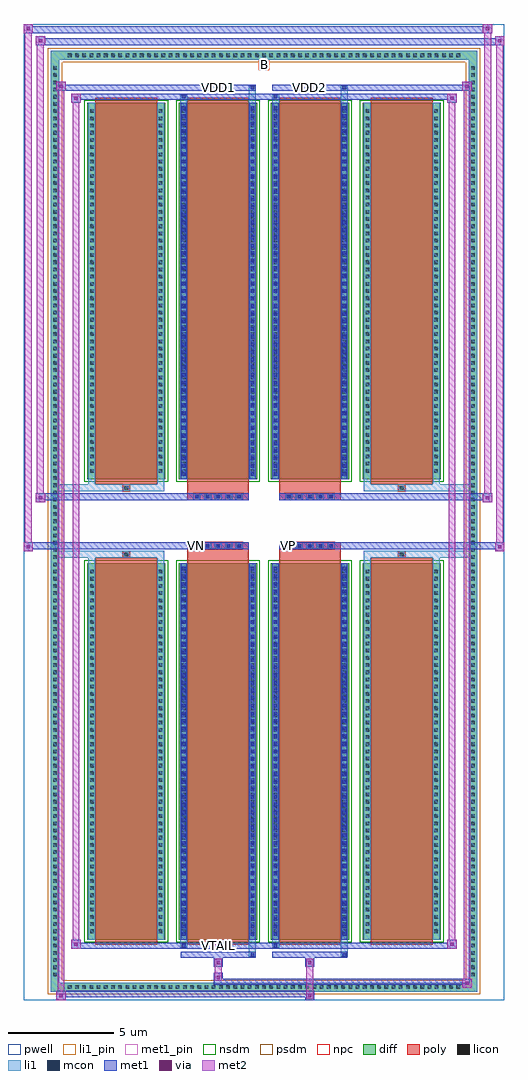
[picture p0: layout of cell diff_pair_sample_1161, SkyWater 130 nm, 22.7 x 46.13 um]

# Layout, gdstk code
import gdstk
lib = gdstk.Library(unit=1e-6, precision=5e-09)
def R(c, l, rs):  # rectangles x0, y0, x1, y1
    for r in rs: c.add(gdstk.rectangle(r[:2], r[2:], *l))
def A(c, l, x, y, w, h, nx, ny, dx, dy):  # array of equal rectangles
    R(c, l, [(x+i*dx, y+j*dy, x+i*dx+w, y+j*dy+h) for i in range(nx) for j in range(ny)])
def P(c, l, *ps):  # polygons
    for p in ps: c.add(gdstk.Polygon(p, *l))
pwell = (64, 44)
diff = (65, 20)
poly = (66, 20)
licon = (66, 44)
li1_pin = (67, 16)
li1 = (67, 20)
mcon = (67, 44)
met1_pin = (68, 16)
met1 = (68, 20)
via = (68, 44)
met2 = (69, 20)
nsdm = (93, 44)
psdm = (94, 20)
npc = (95, 20)

diff_pair_sample_1161 = lib.new_cell('diff_pair_sample_1161')
R(diff_pair_sample_1161, pwell, [(-11.35,-22.63,11.35,23.5), (-8.67,-20.82,-0.01,-0.8), (0.01,-20.82,8.67,-0.8), (-8.67,0.8,-0.01,20.82), (0.01,0.8,8.67,20.82)])
A(diff_pair_sample_1161, diff, -9.385, -22.23, 0.41, 0.41, 55, 2, 0.34, 44.05)
A(diff_pair_sample_1161, diff, -10.08, -21.625, 0.41, 0.41, 1, 127, 0, 0.34)
A(diff_pair_sample_1161, diff, 9.67, -21.625, 0.41, 0.41, 1, 127, 0, 0.34)
A(diff_pair_sample_1161, diff, -8.36, -19.775, 3.7, 17.79, 4, 2, 4.34, 21.76)
R(diff_pair_sample_1161, diff, [(-9.385,-22.23,9.385,-21.82), (-10.08,-21.625,-9.67,21.625), (9.67,-21.625,10.08,21.625), (-9.385,21.82,9.385,22.23)])
P(diff_pair_sample_1161, diff, [(10.08,22.23),(-10.08,22.23),(-10.08,-21.82),(-9.67,-21.82),(-9.67,21.82),(9.67,21.82),(9.67,-21.82),(-9.67,-21.82),(-10.08,-21.82),(-10.08,-22.23),(10.08,-22.23)])
A(diff_pair_sample_1161, poly, -7.97, -20.025, 2.92, 18.29, 4, 2, 4.34, 21.76)
A(diff_pair_sample_1161, poly, -3.335, -1.33, 0.33, 0.33, 5, 2, 0.5, 2.33)
A(diff_pair_sample_1161, poly, 1.005, -1.33, 0.33, 0.33, 5, 2, 0.5, 2.33)
R(diff_pair_sample_1161, poly, [(-6.675,-1.735,-6.345,-1.405), (-6.675,-1.735,-6.345,-1.405), (-3.63,-1.735,-0.71,-1.33), (0.71,-1.735,3.63,-1.33), (6.345,-1.735,6.675,-1.405), (6.345,-1.735,6.675,-1.405), (-3.63,-1.33,-0.71,-1), (0.71,-1.33,3.63,-1), (-3.63,1,-0.71,1.33), (0.71,1,3.63,1.33), (-3.63,1.33,-0.71,1.735), (0.71,1.33,3.63,1.735), (-6.675,1.405,-6.345,1.735), (-6.675,1.405,-6.345,1.735), (6.345,1.405,6.675,1.735), (6.345,1.405,6.675,1.735)])
A(diff_pair_sample_1161, licon, -9.265, -22.11, 0.17, 0.17, 55, 2, 0.34, 44.05)
A(diff_pair_sample_1161, licon, -9.96, -21.505, 0.17, 0.17, 1, 127, 0, 0.34)
A(diff_pair_sample_1161, licon, 9.79, -21.505, 0.17, 0.17, 1, 127, 0, 0.34)
A(diff_pair_sample_1161, licon, -8.22, -19.465, 0.17, 0.17, 1, 51, 0, 0.34)
A(diff_pair_sample_1161, licon, -4.97, -19.465, 0.17, 0.17, 1, 51, 0, 0.34)
A(diff_pair_sample_1161, licon, -3.88, -19.465, 0.17, 0.17, 1, 51, 0, 0.34)
A(diff_pair_sample_1161, licon, -0.63, -19.465, 0.17, 0.17, 1, 51, 0, 0.34)
A(diff_pair_sample_1161, licon, 0.46, -19.465, 0.17, 0.17, 1, 51, 0, 0.34)
A(diff_pair_sample_1161, licon, 3.71, -19.465, 0.17, 0.17, 1, 51, 0, 0.34)
A(diff_pair_sample_1161, licon, 4.8, -19.465, 0.17, 0.17, 1, 51, 0, 0.34)
A(diff_pair_sample_1161, licon, 8.05, -19.465, 0.17, 0.17, 1, 51, 0, 0.34)
A(diff_pair_sample_1161, licon, -3.255, -1.25, 0.17, 0.17, 5, 2, 0.5, 2.33)
A(diff_pair_sample_1161, licon, 1.085, -1.25, 0.17, 0.17, 5, 2, 0.5, 2.33)
A(diff_pair_sample_1161, licon, -8.22, 2.295, 0.17, 0.17, 1, 51, 0, 0.34)
A(diff_pair_sample_1161, licon, -4.97, 2.295, 0.17, 0.17, 1, 51, 0, 0.34)
A(diff_pair_sample_1161, licon, -3.88, 2.295, 0.17, 0.17, 1, 51, 0, 0.34)
A(diff_pair_sample_1161, licon, -0.63, 2.295, 0.17, 0.17, 1, 51, 0, 0.34)
A(diff_pair_sample_1161, licon, 0.46, 2.295, 0.17, 0.17, 1, 51, 0, 0.34)
A(diff_pair_sample_1161, licon, 3.71, 2.295, 0.17, 0.17, 1, 51, 0, 0.34)
A(diff_pair_sample_1161, licon, 4.8, 2.295, 0.17, 0.17, 1, 51, 0, 0.34)
A(diff_pair_sample_1161, licon, 8.05, 2.295, 0.17, 0.17, 1, 51, 0, 0.34)
R(diff_pair_sample_1161, licon, [(-6.595,-1.655,-6.425,-1.485), (6.425,-1.655,6.595,-1.485), (-6.595,1.485,-6.425,1.655), (6.425,1.485,6.595,1.655)])
R(diff_pair_sample_1161, li1_pin, [(-0.25,21.32,0.25,21.82)])
A(diff_pair_sample_1161, li1, -9.345, -22.19, 0.33, 0.33, 55, 2, 0.34, 44.05)
A(diff_pair_sample_1161, li1, -10.04, -21.585, 0.33, 0.33, 1, 127, 0, 0.34)
A(diff_pair_sample_1161, li1, 9.71, -21.585, 0.33, 0.33, 1, 127, 0, 0.34)
A(diff_pair_sample_1161, li1, -3.88, -19.605, 0.17, 0.17, 1, 49, 0, 0.36)
A(diff_pair_sample_1161, li1, -0.63, -19.605, 0.17, 0.17, 1, 49, 0, 0.36)
A(diff_pair_sample_1161, li1, 0.46, -19.605, 0.17, 0.17, 1, 49, 0, 0.36)
A(diff_pair_sample_1161, li1, 3.71, -19.605, 0.17, 0.17, 1, 49, 0, 0.36)
A(diff_pair_sample_1161, li1, -8.3, -19.545, 0.33, 0.33, 1, 51, 0, 0.34)
A(diff_pair_sample_1161, li1, -5.05, -19.545, 0.33, 0.33, 1, 51, 0, 0.34)
A(diff_pair_sample_1161, li1, -3.96, -19.545, 0.33, 0.33, 1, 51, 0, 0.34)
A(diff_pair_sample_1161, li1, -0.71, -19.545, 0.33, 0.33, 1, 51, 0, 0.34)
A(diff_pair_sample_1161, li1, 0.38, -19.545, 0.33, 0.33, 1, 51, 0, 0.34)
A(diff_pair_sample_1161, li1, 3.63, -19.545, 0.33, 0.33, 1, 51, 0, 0.34)
A(diff_pair_sample_1161, li1, 4.72, -19.545, 0.33, 0.33, 1, 51, 0, 0.34)
A(diff_pair_sample_1161, li1, 7.97, -19.545, 0.33, 0.33, 1, 51, 0, 0.34)
A(diff_pair_sample_1161, li1, -3.335, -1.33, 0.33, 0.33, 5, 2, 0.5, 2.33)
A(diff_pair_sample_1161, li1, 1.005, -1.33, 0.33, 0.33, 5, 2, 0.5, 2.33)
A(diff_pair_sample_1161, li1, -3.88, 2.155, 0.17, 0.17, 1, 49, 0, 0.36)
A(diff_pair_sample_1161, li1, -0.63, 2.155, 0.17, 0.17, 1, 49, 0, 0.36)
A(diff_pair_sample_1161, li1, 0.46, 2.155, 0.17, 0.17, 1, 49, 0, 0.36)
A(diff_pair_sample_1161, li1, 3.71, 2.155, 0.17, 0.17, 1, 49, 0, 0.36)
A(diff_pair_sample_1161, li1, -8.3, 2.215, 0.33, 0.33, 1, 51, 0, 0.34)
A(diff_pair_sample_1161, li1, -5.05, 2.215, 0.33, 0.33, 1, 51, 0, 0.34)
A(diff_pair_sample_1161, li1, -3.96, 2.215, 0.33, 0.33, 1, 51, 0, 0.34)
A(diff_pair_sample_1161, li1, -0.71, 2.215, 0.33, 0.33, 1, 51, 0, 0.34)
A(diff_pair_sample_1161, li1, 0.38, 2.215, 0.33, 0.33, 1, 51, 0, 0.34)
A(diff_pair_sample_1161, li1, 3.63, 2.215, 0.33, 0.33, 1, 51, 0, 0.34)
A(diff_pair_sample_1161, li1, 4.72, 2.215, 0.33, 0.33, 1, 51, 0, 0.34)
A(diff_pair_sample_1161, li1, 7.97, 2.215, 0.33, 0.33, 1, 51, 0, 0.34)
R(diff_pair_sample_1161, li1, [(-10.08,-22.23,-9.67,-21.82), (-10.08,-22.23,-9.67,-21.82), (-9.67,-22.23,9.67,-21.82), (9.67,-22.23,10.08,-21.82), (9.67,-22.23,10.08,-21.82), (-10.08,-21.82,-9.67,21.82), (9.67,-21.82,10.08,21.82), (-0.71,-20.58,-0.38,-19.775), (-0.63,-20.58,-0.46,-20.41), (3.63,-20.58,3.96,-19.775), (3.71,-20.58,3.88,-20.41), (-3.96,-20.15,-3.63,-19.775), (-3.88,-20.15,-3.71,-19.98), (0.38,-20.15,0.71,-19.775), (0.46,-20.15,0.63,-19.98), (-8.3,-19.775,-7.97,-1.985), (-5.05,-19.775,-4.72,-1.985), (-3.96,-19.775,-3.63,-1.985), (-0.71,-19.775,-0.38,-1.985), (0.38,-19.775,0.71,-1.985), (3.63,-19.775,3.96,-1.985), (4.72,-19.775,5.05,-1.985), (7.97,-19.775,8.3,-1.985), (-3.88,-19.605,-3.71,-2.155), (-0.63,-19.605,-0.46,-2.155), (0.46,-19.605,0.63,-2.155), (3.71,-19.605,3.88,-2.155), (-8.3,-1.985,-7.97,-1.405), (-5.05,-1.985,-4.72,-1.405), (4.72,-1.985,5.05,-1.405), (7.97,-1.985,8.3,-1.405), (-10.08,-1.735,-6.675,-1.405), (-8.3,-1.735,-6.675,-1.405), (-6.675,-1.735,-6.345,-1.405), (-6.345,-1.735,-4.72,-1.405), (4.72,-1.735,6.345,-1.405), (6.345,-1.735,6.675,-1.405), (6.345,-1.735,10.08,-1.405), (6.675,-1.735,8.3,-1.405), (-10.08,1.405,-6.675,1.735), (-8.3,1.405,-6.675,1.735), (-8.3,1.405,-7.97,1.985), (-6.675,1.405,-6.345,1.735), (-6.345,1.405,-4.72,1.735), (-5.05,1.405,-4.72,1.985), (4.72,1.405,6.345,1.735), (4.72,1.405,5.05,1.985), (6.345,1.405,6.675,1.735), (6.345,1.405,10.08,1.735), (6.675,1.405,8.3,1.735), (7.97,1.405,8.3,1.985), (-8.3,1.985,-7.97,19.775), (-5.05,1.985,-4.72,19.775), (-3.96,1.985,-3.63,19.775), (-0.71,1.985,-0.38,19.775), (0.38,1.985,0.71,19.775), (3.63,1.985,3.96,19.775), (4.72,1.985,5.05,19.775), (7.97,1.985,8.3,19.775), (-3.88,2.155,-3.71,19.605), (-0.63,2.155,-0.46,19.605), (0.46,2.155,0.63,19.605), (3.71,2.155,3.88,19.605), (-3.96,19.775,-3.63,20.15), (-0.71,19.775,-0.38,20.58), (0.38,19.775,0.71,20.15), (3.63,19.775,3.96,20.58), (-3.88,19.98,-3.71,20.15), (0.46,19.98,0.63,20.15), (-0.63,20.41,-0.46,20.58), (3.71,20.41,3.88,20.58), (-10.08,21.82,-9.67,22.23), (-10.08,21.82,-9.67,22.23), (-9.67,21.82,9.67,22.23), (9.67,21.82,10.08,22.23), (9.67,21.82,10.08,22.23)])
A(diff_pair_sample_1161, mcon, -3.88, -19.605, 0.17, 0.17, 1, 49, 0, 0.36)
A(diff_pair_sample_1161, mcon, -0.63, -19.605, 0.17, 0.17, 1, 49, 0, 0.36)
A(diff_pair_sample_1161, mcon, 0.46, -19.605, 0.17, 0.17, 1, 49, 0, 0.36)
A(diff_pair_sample_1161, mcon, 3.71, -19.605, 0.17, 0.17, 1, 49, 0, 0.36)
A(diff_pair_sample_1161, mcon, -3.255, -1.25, 0.17, 0.17, 5, 2, 0.5, 2.33)
A(diff_pair_sample_1161, mcon, 1.085, -1.25, 0.17, 0.17, 5, 2, 0.5, 2.33)
A(diff_pair_sample_1161, mcon, -3.88, 2.155, 0.17, 0.17, 1, 49, 0, 0.36)
A(diff_pair_sample_1161, mcon, -0.63, 2.155, 0.17, 0.17, 1, 49, 0, 0.36)
A(diff_pair_sample_1161, mcon, 0.46, 2.155, 0.17, 0.17, 1, 49, 0, 0.36)
A(diff_pair_sample_1161, mcon, 3.71, 2.155, 0.17, 0.17, 1, 49, 0, 0.36)
R(diff_pair_sample_1161, mcon, [(-0.63,-20.58,-0.46,-20.41), (3.71,-20.58,3.88,-20.41), (-3.88,-20.15,-3.71,-19.98), (0.46,-20.15,0.63,-19.98), (-3.88,19.98,-3.71,20.15), (0.46,19.98,0.63,20.15), (-0.63,20.41,-0.46,20.58), (3.71,20.41,3.88,20.58)])
R(diff_pair_sample_1161, met1_pin, [(-2.305,-20.19,-2.035,-19.92), (-3.305,-1.29,-3.035,-1.02), (1.035,-1.29,1.305,-1.02), (-2.305,20.37,-2.035,20.64), (2.035,20.37,2.305,20.64)])
A(diff_pair_sample_1161, met1, -3.94, -19.665, 0.29, 0.29, 1, 49, 0, 0.36)
A(diff_pair_sample_1161, met1, -0.69, -19.665, 0.29, 0.29, 1, 49, 0, 0.36)
A(diff_pair_sample_1161, met1, 0.4, -19.665, 0.29, 0.29, 1, 49, 0, 0.36)
A(diff_pair_sample_1161, met1, 3.65, -19.665, 0.29, 0.29, 1, 49, 0, 0.36)
A(diff_pair_sample_1161, met1, -3.315, -1.31, 0.29, 0.29, 5, 2, 0.5, 2.33)
A(diff_pair_sample_1161, met1, 1.025, -1.31, 0.29, 0.29, 5, 2, 0.5, 2.33)
A(diff_pair_sample_1161, met1, -3.94, 2.095, 0.29, 0.29, 1, 49, 0, 0.36)
A(diff_pair_sample_1161, met1, -0.69, 2.095, 0.29, 0.29, 1, 49, 0, 0.36)
A(diff_pair_sample_1161, met1, 0.4, 2.095, 0.29, 0.29, 1, 49, 0, 0.36)
A(diff_pair_sample_1161, met1, 3.65, 2.095, 0.29, 0.29, 1, 49, 0, 0.36)
R(diff_pair_sample_1161, met1, [(-9.81,-22.63,-9.38,-22.2), (1.955,-22.63,2.385,-22.2), (-9.81,-22.49,2.385,-22.2), (9.38,-22.06,9.81,-21.63), (-2.385,-21.92,9.81,-21.63), (-2.385,-21.78,-1.955,-21.35), (-2.385,-21.07,-1.955,-20.64), (1.955,-21.07,2.385,-20.64), (-3.94,-20.64,-0.4,-20.35), (-0.69,-20.64,-0.4,-20.35), (0.4,-20.64,3.94,-20.35), (3.65,-20.64,3.94,-20.35), (-9.1,-20.21,-8.67,-19.78), (-9.1,-20.21,-3.94,-19.92), (-3.94,-20.21,-3.65,-19.92), (-3.94,-20.21,-0.4,-19.92), (-0.4,-20.21,0.4,-19.92), (0.4,-20.21,0.69,-19.92), (0.4,-20.21,3.94,-19.92), (3.94,-20.21,9.1,-19.92), (8.67,-20.21,9.1,-19.78), (-3.94,-19.775,-3.65,-1.985), (-0.69,-19.775,-0.4,-1.985), (0.4,-19.775,0.69,-1.985), (3.65,-19.775,3.94,-1.985), (-11.35,-1.43,-10.92,-1), (10.92,-1.43,11.35,-1), (-11.35,-1.33,-0.71,-1), (-3.63,-1.33,-0.71,-1), (0.71,-1.33,3.63,-1), (0.71,-1.33,11.35,-1), (-10.78,0.9,-10.35,1.33), (10.35,0.9,10.78,1.33), (-10.78,1,-3.63,1.33), (-3.63,1,-0.71,1.33), (0.71,1,3.63,1.33), (3.63,1,10.78,1.33), (-3.94,1.985,-3.65,19.775), (-0.69,1.985,-0.4,19.775), (0.4,1.985,0.69,19.775), (3.65,1.985,3.94,19.775), (-9.1,19.78,-8.67,20.21), (8.67,19.78,9.1,20.21), (-9.1,19.92,-3.94,20.21), (-3.94,19.92,-3.65,20.21), (-3.94,19.92,-0.4,20.21), (-0.4,19.92,0.4,20.21), (0.4,19.92,0.69,20.21), (0.4,19.92,3.94,20.21), (3.94,19.92,9.1,20.21), (-9.81,20.35,-9.38,20.78), (-9.81,20.35,-3.94,20.64), (-3.94,20.35,-0.4,20.64), (-0.69,20.35,-0.4,20.64), (0.4,20.35,3.94,20.64), (3.65,20.35,3.94,20.64), (3.94,20.35,9.81,20.64), (9.38,20.35,9.81,20.78), (-10.78,22.5,-10.35,22.93), (-10.78,22.5,-8.67,22.83), (-8.67,22.5,8.67,22.83), (8.67,22.5,11.35,22.83), (10.92,22.5,11.35,22.93), (-11.35,23.07,-10.92,23.5), (-11.35,23.07,-8.67,23.4), (-8.67,23.07,8.67,23.4), (8.67,23.07,10.78,23.4), (10.35,23.07,10.78,23.5)])
R(diff_pair_sample_1161, via, [(-9.67,-22.49,-9.52,-22.34), (2.095,-22.49,2.245,-22.34), (9.52,-21.92,9.67,-21.77), (-2.245,-21.64,-2.095,-21.49), (-2.245,-20.93,-2.095,-20.78), (2.095,-20.93,2.245,-20.78), (-8.96,-20.07,-8.81,-19.92), (8.81,-20.07,8.96,-19.92), (-11.21,-1.29,-11.06,-1.14), (11.06,-1.29,11.21,-1.14), (-10.64,1.04,-10.49,1.19), (10.49,1.04,10.64,1.19), (-8.96,19.92,-8.81,20.07), (8.81,19.92,8.96,20.07), (-9.67,20.49,-9.52,20.64), (9.52,20.49,9.67,20.64), (-10.64,22.64,-10.49,22.79), (11.06,22.64,11.21,22.79), (-11.21,23.21,-11.06,23.36), (10.49,23.21,10.64,23.36)])
R(diff_pair_sample_1161, met2, [(-9.81,-22.63,-9.38,-22.2), (-9.74,-22.63,-9.45,20.78), (-9.45,-22.63,-9.38,-22.2), (-9.76,-22.58,-9.43,-22.25), (2.005,-22.58,2.335,-22.25), (2.005,-22.25,2.335,-21.02), (9.38,-22.06,9.81,-21.63), (9.45,-22.06,9.74,20.78), (9.74,-22.06,9.81,-21.63), (9.43,-22.01,9.76,-21.68), (-2.335,-21.73,-2.005,-21.4), (-2.335,-21.4,-2.005,-21.02), (-2.335,-21.02,-2.005,-20.69), (2.005,-21.02,2.335,-20.69), (-9.1,-20.21,-8.67,-19.78), (-9.03,-20.21,-8.74,20.21), (-8.74,-20.21,-8.67,-19.78), (8.67,-20.21,9.1,-19.78), (8.74,-20.21,9.03,20.21), (9.03,-20.21,9.1,-19.78), (-9.05,-20.16,-8.72,-19.83), (8.72,-20.16,9.05,-19.83), (-11.35,-1.43,-10.92,-1), (-11.3,-1.43,-10.97,23.5), (-10.97,-1.43,-10.92,-1), (10.92,-1.43,11.35,-1), (10.97,-1.43,11.3,22.93), (11.3,-1.43,11.35,-1), (-11.3,-1.38,-10.97,-1.05), (10.97,-1.38,11.3,-1.05), (-10.78,0.9,-10.35,1.33), (-10.73,0.9,-10.4,22.93), (-10.4,0.9,-10.35,1.33), (10.35,0.9,10.78,1.33), (10.4,0.9,10.73,23.5), (10.73,0.9,10.78,1.33), (-10.73,0.95,-10.4,1.28), (10.4,0.95,10.73,1.28), (-9.1,19.78,-8.67,20.21), (-8.74,19.78,-8.67,20.21), (8.67,19.78,9.1,20.21), (9.03,19.78,9.1,20.21), (-9.05,19.83,-8.72,20.16), (8.72,19.83,9.05,20.16), (-9.81,20.35,-9.38,20.78), (-9.45,20.35,-9.38,20.78), (9.38,20.35,9.81,20.78), (9.74,20.35,9.81,20.78), (-9.76,20.4,-9.43,20.73), (9.43,20.4,9.76,20.73), (-10.78,22.5,-10.35,22.93), (-10.4,22.5,-10.35,22.93), (10.92,22.5,11.35,22.93), (11.3,22.5,11.35,22.93), (-10.73,22.55,-10.4,22.88), (10.97,22.55,11.3,22.88), (-11.35,23.07,-10.92,23.5), (-10.97,23.07,-10.92,23.5), (10.35,23.07,10.78,23.5), (10.73,23.07,10.78,23.5), (-11.3,23.12,-10.97,23.45), (10.4,23.12,10.73,23.45)])
A(diff_pair_sample_1161, nsdm, -8.49, -19.905, 3.96, 18.05, 4, 2, 4.34, 21.76)
P(diff_pair_sample_1161, psdm, [(10.21,22.36),(-10.21,22.36),(-10.21,-21.69),(-9.54,-21.69),(-9.54,21.69),(9.54,21.69),(9.54,-21.69),(-9.54,-21.69),(-10.21,-21.69),(-10.21,-22.36),(10.21,-22.36)])
A(diff_pair_sample_1161, npc, -3.355, -1.35, 0.37, 0.37, 5, 2, 0.5, 2.33)
A(diff_pair_sample_1161, npc, 0.985, -1.35, 0.37, 0.37, 5, 2, 0.5, 2.33)
R(diff_pair_sample_1161, npc, [(-6.695,-1.755,-6.325,-1.385), (6.325,-1.755,6.695,-1.385), (-3.355,-1.35,-2.485,-0.98), (-3.355,-1.35,-2.485,-0.98), (-2.855,-1.35,-1.985,-0.98), (-2.855,-1.35,-1.985,-0.98), (-2.355,-1.35,-1.485,-0.98), (-2.355,-1.35,-1.485,-0.98), (-1.855,-1.35,-0.985,-0.98), (-1.855,-1.35,-0.985,-0.98), (0.985,-1.35,1.855,-0.98), (0.985,-1.35,1.855,-0.98), (1.485,-1.35,2.355,-0.98), (1.485,-1.35,2.355,-0.98), (1.985,-1.35,2.855,-0.98), (1.985,-1.35,2.855,-0.98), (2.485,-1.35,3.355,-0.98), (2.485,-1.35,3.355,-0.98), (-3.355,0.98,-2.485,1.35), (-3.355,0.98,-2.485,1.35), (-2.855,0.98,-1.985,1.35), (-2.855,0.98,-1.985,1.35), (-2.355,0.98,-1.485,1.35), (-2.355,0.98,-1.485,1.35), (-1.855,0.98,-0.985,1.35), (-1.855,0.98,-0.985,1.35), (0.985,0.98,1.855,1.35), (0.985,0.98,1.855,1.35), (1.485,0.98,2.355,1.35), (1.485,0.98,2.355,1.35), (1.985,0.98,2.855,1.35), (1.985,0.98,2.855,1.35), (2.485,0.98,3.355,1.35), (2.485,0.98,3.355,1.35), (-6.695,1.385,-6.325,1.755), (6.325,1.385,6.695,1.755)])
diff_pair_sample_1161.add(gdstk.Label('VTAIL', (-2.17,-20.055), layer=68, texttype=5))
diff_pair_sample_1161.add(gdstk.Label('VN', (-3.17,-1.155), layer=68, texttype=5))
diff_pair_sample_1161.add(gdstk.Label('VP', (1.17,-1.155), layer=68, texttype=5))
diff_pair_sample_1161.add(gdstk.Label('B', (0,21.57), layer=67, texttype=5))
diff_pair_sample_1161.add(gdstk.Label('VDD2', (2.17,20.505), layer=68, texttype=5))
diff_pair_sample_1161.add(gdstk.Label('VDD1', (-2.17,20.505), layer=68, texttype=5))

lib.write_gds('diff_pair_sample_1161.gds')
